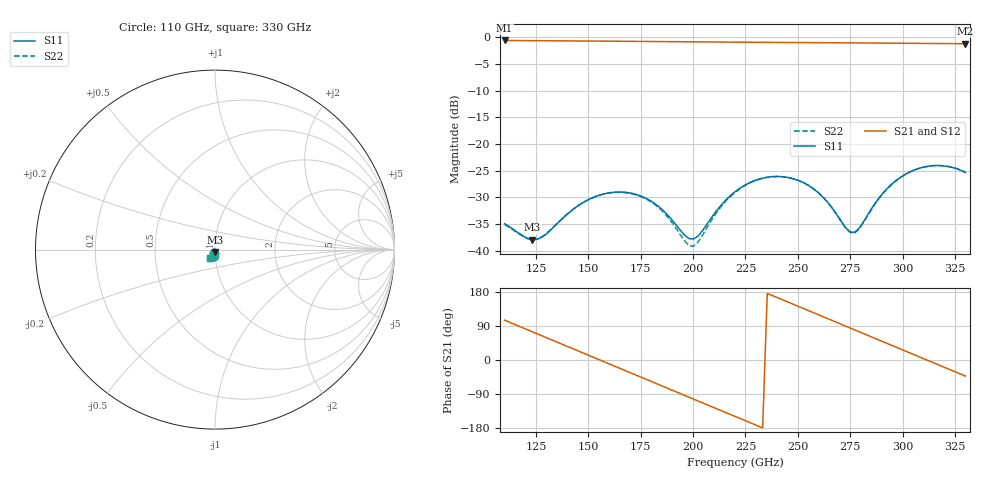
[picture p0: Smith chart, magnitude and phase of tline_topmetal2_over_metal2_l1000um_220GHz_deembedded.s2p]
! Created with skrf 2.2.0 (http://scikit-rf.org).
# GHz S DB R 50.0
! Port[1] = P1
! Port[2] = P2
!freq dBS11 angS11 dBS21 angS21 dBS12 angS12 dBS22 angS22
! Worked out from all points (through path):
!   101 points, 110 GHz to 330 GHz, reference 50 ohm
!   highest |S21| = -0.61 dB at 110 GHz (marker M1); lowest = -1.2 dB at 330 GHz (marker M2)
!   group delay of S21, straight-line fit = 6.41 ps
!   lowest |S11| = -37.9 dB at 123.2 GHz (marker M3), VSWR 1.03, Z = 49.8 - j1.26 ohm
!   |S11| at or under -10 dB: start of sweep to end of sweep
!   |S22| runs from -39.2 to -24.0 dB; largest |S21 - S12| = 1e-13
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110  -34.95 -112.5  -0.61 105.0  -0.61 105.0  -35.09 -113.3
123.2  -37.93 -96.1  -0.65 74.5  -0.65 74.5  -37.95 -96.3
134.2  -35.28 -71.6  -0.68 49.2  -0.68 49.2  -35.21 -72.6
147.4  -31.00 -76.4  -0.71 18.7  -0.71 18.7  -30.99 -77.9
156.2  -29.49 -87.9  -0.74 -1.6  -0.74 -1.6  -29.50 -89.7
165  -29.01 -101.3  -0.76 -21.9  -0.76 -21.9  -29.05 -103.3
176  -29.91 -117.4  -0.80 -47.3  -0.80 -47.3  -30.02 -120.1
184.8  -32.14 -126.2  -0.82 -67.6  -0.82 -67.6  -32.40 -129.8
200.2  -37.82 -91.6  -0.87 -103.1  -0.87 -103.1  -39.15 -90.6
209  -33.68 -63.4  -0.90 -123.4  -0.90 -123.4  -34.14 -59.0
220  -28.96 -68.2  -0.93 -148.8  -0.93 -148.8  -29.08 -65.4
228.8  -26.95 -80.9  -0.95 -169.0  -0.95 -169.0  -27.01 -78.7
237.6  -26.13 -95.5  -0.98 170.7  -0.98 170.7  -26.15 -93.8
246.4  -26.37 -110.3  -1.00 150.4  -1.00 150.4  -26.38 -108.8
257.4  -28.38 -126.2  -1.02 125.0  -1.02 125.0  -28.37 -125.0
268.4  -33.13 -128.7  -1.05 99.7  -1.05 99.7  -33.11 -128.0
277.2  -36.54 -89.6  -1.07 79.3  -1.07 79.3  -36.67 -89.1
294.8  -27.53 -64.1  -1.12 38.7  -1.12 38.7  -27.59 -62.4
303.6  -25.22 -76.3  -1.15 18.4  -1.15 18.4  -25.25 -74.6
312.4  -24.17 -91.1  -1.17 -1.9  -1.17 -1.9  -24.18 -89.1
321.2  -24.19 -106.3  -1.20 -22.1  -1.20 -22.1  -24.17 -104.0
330  -25.35 -120.6  -1.21 -42.4  -1.21 -42.4  -25.29 -117.8
